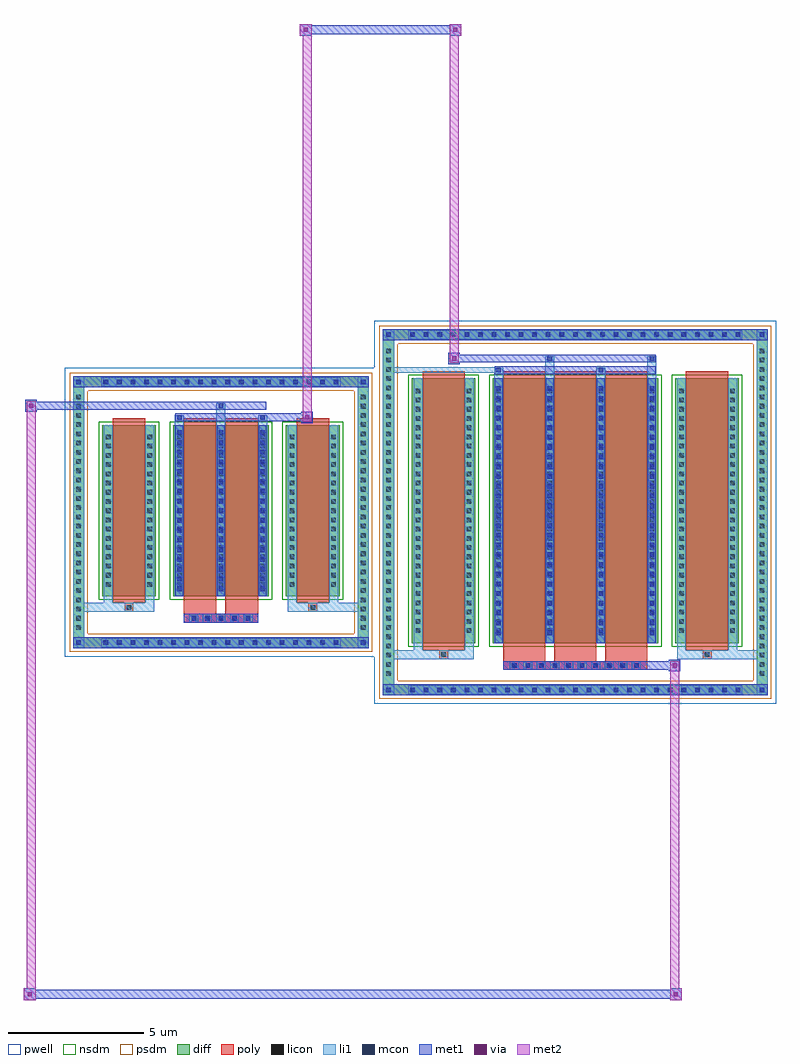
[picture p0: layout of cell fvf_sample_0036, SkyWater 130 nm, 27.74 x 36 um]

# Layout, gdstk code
import gdstk
lib = gdstk.Library(unit=1e-6, precision=1e-09)
def R(c, l, rs):  # rectangles x0, y0, x1, y1
    for r in rs: c.add(gdstk.rectangle(r[:2], r[2:], *l))
def A(c, l, x, y, w, h, nx, ny, dx, dy):  # array of equal rectangles
    R(c, l, [(x+i*dx, y+j*dy, x+i*dx+w, y+j*dy+h) for i in range(nx) for j in range(ny)])
def P(c, l, *ps):  # polygons
    for p in ps: c.add(gdstk.Polygon(p, *l))
pwell = (64, 44)
diff = (65, 20)
poly = (66, 20)
licon = (66, 44)
li1 = (67, 20)
mcon = (67, 44)
met1 = (68, 20)
via = (68, 44)
met2 = (69, 20)
nsdm = (93, 44)
psdm = (94, 20)

fvf_sample_0036 = lib.new_cell('fvf_sample_0036')
R(fvf_sample_0036, pwell, [(5.663,-7.066,20.475,7.066), (-5.763,-5.324,5.763,5.324)])
A(fvf_sample_0036, diff, 6.864, -6.756, 0.41, 0.41, 25, 2, 0.5, 13.102)
A(fvf_sample_0036, diff, 5.973, -6.155, 0.41, 0.41, 1, 36, 0, 0.34)
A(fvf_sample_0036, diff, 19.755, -6.155, 0.41, 0.41, 1, 36, 0, 0.34)
A(fvf_sample_0036, diff, -4.455, -5.014, 0.41, 0.41, 18, 2, 0.5, 9.618)
A(fvf_sample_0036, diff, -5.453, -4.455, 0.41, 0.41, 1, 26, 0, 0.34)
A(fvf_sample_0036, diff, 5.043, -4.455, 0.41, 0.41, 1, 26, 0, 0.34)
R(fvf_sample_0036, diff, [(6.864,-6.756,19.274,-6.346), (5.973,-6.155,6.383,6.155), (19.755,-6.155,20.165,6.155), (-4.455,-5.014,4.455,-4.604), (7.044,-4.835,9.378,4.951), (10.018,-4.835,16.12,4.951), (16.76,-4.835,19.094,4.951), (-5.453,-4.455,-5.043,4.455), (5.043,-4.455,5.453,4.455), (-4.383,-3.093,-2.399,3.209), (-1.759,-3.093,1.759,3.209), (2.399,-3.093,4.383,3.209), (-4.455,4.604,4.455,5.014), (6.864,6.346,19.274,6.756)])
P(fvf_sample_0036, diff, [(5.453,5.014),(-5.453,5.014),(-5.453,-4.604),(-5.043,-4.604),(-5.043,4.604),(5.043,4.604),(5.043,-4.604),(-5.043,-4.604),(-5.453,-4.604),(-5.453,-5.014),(5.453,-5.014)],
  [(20.165,6.756),(5.973,6.756),(5.973,-6.346),(6.383,-6.346),(6.383,6.346),(19.755,6.346),(19.755,-6.346),(6.383,-6.346),(5.973,-6.346),(5.973,-6.756),(20.165,-6.756)])
A(fvf_sample_0036, poly, 10.654, -5.816, 0.33, 0.33, 10, 1, 0.5, 0)
A(fvf_sample_0036, poly, 10.408, -5.486, 1.554, 0.401, 3, 1, 1.884, 0)
A(fvf_sample_0036, poly, 10.408, -5.085, 1.554, 10.286, 3, 1, 1.884, 0)
A(fvf_sample_0036, poly, -1.165, -4.074, 0.33, 0.33, 5, 1, 0.5, 0)
R(fvf_sample_0036, poly, [(10.408,-5.816,15.73,-5.486), (8.046,-5.415,8.376,-5.085), (8.046,-5.415,8.376,-5.085), (17.762,-5.415,18.092,-5.085), (17.762,-5.415,18.092,-5.085), (7.434,-5.085,8.988,5.201), (17.15,-5.085,18.704,5.201), (-1.369,-4.074,1.369,-3.744), (-1.369,-3.744,-0.165,-3.343), (0.165,-3.744,1.369,-3.343), (-3.556,-3.673,-3.226,-3.343), (-3.556,-3.673,-3.226,-3.343), (3.226,-3.673,3.556,-3.343), (3.226,-3.673,3.556,-3.343), (-3.993,-3.343,-2.789,3.459), (-1.369,-3.343,-0.165,3.459), (0.165,-3.343,1.369,3.459), (2.789,-3.343,3.993,3.459)])
A(fvf_sample_0036, licon, 6.984, -6.636, 0.17, 0.17, 25, 2, 0.5, 13.102)
A(fvf_sample_0036, licon, 6.093, -6.035, 0.17, 0.17, 1, 36, 0, 0.34)
A(fvf_sample_0036, licon, 19.875, -6.035, 0.17, 0.17, 1, 36, 0, 0.34)
A(fvf_sample_0036, licon, 10.734, -5.736, 0.17, 0.17, 10, 1, 0.5, 0)
A(fvf_sample_0036, licon, -4.335, -4.894, 0.17, 0.17, 18, 2, 0.5, 9.618)
A(fvf_sample_0036, licon, 7.184, -4.447, 0.17, 0.17, 1, 27, 0, 0.34)
A(fvf_sample_0036, licon, 9.068, -4.447, 0.17, 0.17, 1, 27, 0, 0.34)
A(fvf_sample_0036, licon, 10.158, -4.447, 0.17, 0.17, 4, 27, 1.884, 0.34)
A(fvf_sample_0036, licon, 16.9, -4.447, 0.17, 0.17, 1, 27, 0, 0.34)
A(fvf_sample_0036, licon, 18.784, -4.447, 0.17, 0.17, 1, 27, 0, 0.34)
A(fvf_sample_0036, licon, -5.333, -4.335, 0.17, 0.17, 1, 26, 0, 0.34)
A(fvf_sample_0036, licon, 5.163, -4.335, 0.17, 0.17, 1, 26, 0, 0.34)
A(fvf_sample_0036, licon, -1.085, -3.994, 0.17, 0.17, 5, 1, 0.5, 0)
A(fvf_sample_0036, licon, -4.243, -2.747, 0.17, 0.17, 1, 17, 0, 0.34)
A(fvf_sample_0036, licon, -2.709, -2.747, 0.17, 0.17, 1, 17, 0, 0.34)
A(fvf_sample_0036, licon, -1.619, -2.747, 0.17, 0.17, 3, 17, 1.534, 0.34)
A(fvf_sample_0036, licon, 2.539, -2.747, 0.17, 0.17, 1, 17, 0, 0.34)
A(fvf_sample_0036, licon, 4.073, -2.747, 0.17, 0.17, 1, 17, 0, 0.34)
R(fvf_sample_0036, licon, [(8.126,-5.335,8.296,-5.165), (17.842,-5.335,18.012,-5.165), (-3.476,-3.593,-3.306,-3.423), (3.306,-3.593,3.476,-3.423)])
A(fvf_sample_0036, li1, 6.904, -6.716, 0.33, 0.33, 25, 2, 0.5, 13.102)
A(fvf_sample_0036, li1, 6.013, -6.115, 0.33, 0.33, 1, 36, 0, 0.34)
A(fvf_sample_0036, li1, 19.795, -6.115, 0.33, 0.33, 1, 36, 0, 0.34)
A(fvf_sample_0036, li1, 10.654, -5.816, 0.33, 0.33, 10, 1, 0.5, 0)
A(fvf_sample_0036, li1, -4.415, -4.974, 0.33, 0.33, 18, 2, 0.5, 9.618)
A(fvf_sample_0036, li1, 10.078, -4.835, 0.33, 9.786, 4, 1, 1.884, 0)
A(fvf_sample_0036, li1, 7.104, -4.527, 0.33, 0.33, 1, 27, 0, 0.34)
A(fvf_sample_0036, li1, 8.988, -4.527, 0.33, 0.33, 1, 27, 0, 0.34)
A(fvf_sample_0036, li1, 10.078, -4.527, 0.33, 0.33, 4, 27, 1.884, 0.34)
A(fvf_sample_0036, li1, 10.158, -4.527, 0.17, 0.17, 4, 26, 1.884, 0.36)
A(fvf_sample_0036, li1, 10.158, -4.527, 0.17, 9.17, 4, 1, 1.884, 0)
A(fvf_sample_0036, li1, 16.82, -4.527, 0.33, 0.33, 1, 27, 0, 0.34)
A(fvf_sample_0036, li1, 18.704, -4.527, 0.33, 0.33, 1, 27, 0, 0.34)
A(fvf_sample_0036, li1, -5.413, -4.415, 0.33, 0.33, 1, 26, 0, 0.34)
A(fvf_sample_0036, li1, 5.083, -4.415, 0.33, 0.33, 1, 26, 0, 0.34)
A(fvf_sample_0036, li1, -1.165, -4.074, 0.33, 0.33, 5, 1, 0.5, 0)
A(fvf_sample_0036, li1, -1.699, -3.093, 0.33, 6.302, 3, 1, 1.534, 0)
A(fvf_sample_0036, li1, -1.619, -2.907, 0.17, 0.17, 3, 17, 1.534, 0.36)
A(fvf_sample_0036, li1, -1.619, -2.907, 0.17, 5.93, 3, 1, 1.534, 0)
A(fvf_sample_0036, li1, -4.323, -2.827, 0.33, 0.33, 1, 17, 0, 0.34)
A(fvf_sample_0036, li1, -2.789, -2.827, 0.33, 0.33, 1, 17, 0, 0.34)
A(fvf_sample_0036, li1, -1.699, -2.827, 0.33, 0.33, 3, 17, 1.534, 0.34)
A(fvf_sample_0036, li1, 2.459, -2.827, 0.33, 0.33, 1, 17, 0, 0.34)
A(fvf_sample_0036, li1, 3.993, -2.827, 0.33, 0.33, 1, 17, 0, 0.34)
R(fvf_sample_0036, li1, [(5.973,-6.756,6.383,-6.346), (19.755,-6.756,20.165,-6.346), (6.904,-6.716,19.234,-6.386), (6.093,-6.636,6.263,-6.466), (6.093,-6.636,6.263,-6.466), (19.875,-6.636,20.045,-6.466), (19.875,-6.636,20.045,-6.466), (5.973,-6.346,6.383,6.346), (19.755,-6.346,20.165,6.346), (5.973,-5.415,8.046,-5.085), (7.104,-5.415,7.434,-4.835), (7.104,-5.415,8.046,-5.085), (8.046,-5.415,8.376,-5.085), (8.376,-5.415,9.318,-5.085), (8.988,-5.415,9.318,-4.835), (16.82,-5.415,17.15,-4.835), (16.82,-5.415,17.762,-5.085), (17.762,-5.415,18.092,-5.085), (17.762,-5.415,20.165,-5.085), (18.092,-5.415,19.034,-5.085), (18.704,-5.415,19.034,-4.835), (-5.453,-5.014,-5.043,-4.604), (5.043,-5.014,5.453,-4.604), (-4.415,-4.974,4.415,-4.644), (-5.333,-4.894,-5.163,-4.724), (-5.333,-4.894,-5.163,-4.724), (5.163,-4.894,5.333,-4.724), (5.163,-4.894,5.333,-4.724), (7.104,-4.835,7.434,4.951), (8.988,-4.835,9.318,4.951), (16.82,-4.835,17.15,4.951), (18.704,-4.835,19.034,4.951), (-5.453,-4.604,-5.043,4.604), (5.043,-4.604,5.453,4.604), (-5.453,-3.673,-3.556,-3.343), (-4.323,-3.673,-3.556,-3.343), (-4.323,-3.673,-3.993,-3.093), (-3.556,-3.673,-3.226,-3.343), (-3.226,-3.673,-2.459,-3.343), (-2.789,-3.673,-2.459,-3.093), (2.459,-3.673,3.226,-3.343), (2.459,-3.673,2.789,-3.093), (3.226,-3.673,3.556,-3.343), (3.226,-3.673,5.453,-3.343), (3.556,-3.673,4.323,-3.343), (3.993,-3.673,4.323,-3.093), (-4.323,-3.093,-3.993,3.209), (-2.789,-3.093,-2.459,3.209), (2.459,-3.093,2.789,3.209), (3.993,-3.093,4.323,3.209), (-1.699,3.209,-1.369,3.584), (-0.165,3.209,0.165,4.014), (1.369,3.209,1.699,3.584), (-1.619,3.414,-1.449,3.584), (1.449,3.414,1.619,3.584), (-0.085,3.844,0.085,4.014), (-5.453,4.604,-5.043,5.014), (5.043,4.604,5.453,5.014), (-4.415,4.644,4.415,4.974), (-5.333,4.724,-5.163,4.894), (-5.333,4.724,-5.163,4.894), (5.163,4.724,5.333,4.894), (5.163,4.724,5.333,4.894), (10.078,4.951,10.408,5.326), (11.962,4.951,12.292,5.756), (13.846,4.951,14.176,5.326), (15.73,4.951,16.06,5.756), (10.098,5.096,10.388,5.386), (5.973,5.141,10.098,5.341), (10.158,5.156,10.328,5.326), (10.158,5.156,10.328,5.326), (13.926,5.156,14.096,5.326), (12.042,5.586,12.212,5.756), (15.81,5.586,15.98,5.756), (5.973,6.346,6.383,6.756), (19.755,6.346,20.165,6.756), (6.904,6.386,19.234,6.716), (6.093,6.466,6.263,6.636), (6.093,6.466,6.263,6.636), (19.875,6.466,20.045,6.636), (19.875,6.466,20.045,6.636)])
A(fvf_sample_0036, mcon, 6.984, -6.636, 0.17, 0.17, 25, 2, 0.5, 13.102)
A(fvf_sample_0036, mcon, 10.734, -5.736, 0.17, 0.17, 10, 1, 0.5, 0)
A(fvf_sample_0036, mcon, -4.335, -4.894, 0.17, 0.17, 18, 2, 0.5, 9.618)
A(fvf_sample_0036, mcon, 10.158, -4.527, 0.17, 0.17, 4, 26, 1.884, 0.36)
A(fvf_sample_0036, mcon, -1.085, -3.994, 0.17, 0.17, 5, 1, 0.5, 0)
A(fvf_sample_0036, mcon, -1.619, -2.907, 0.17, 0.17, 3, 17, 1.534, 0.36)
R(fvf_sample_0036, mcon, [(6.093,-6.636,6.263,-6.466), (19.875,-6.636,20.045,-6.466), (-5.333,-4.894,-5.163,-4.724), (5.163,-4.894,5.333,-4.724), (-1.619,3.414,-1.449,3.584), (1.449,3.414,1.619,3.584), (-0.085,3.844,0.085,4.014), (-5.333,4.724,-5.163,4.894), (5.163,4.724,5.333,4.894), (10.158,5.156,10.328,5.326), (10.158,5.156,10.328,5.326), (13.926,5.156,14.096,5.326), (12.042,5.586,12.212,5.756), (15.81,5.586,15.98,5.756), (6.093,6.466,6.263,6.636), (19.875,6.466,20.045,6.636)])
A(fvf_sample_0036, met1, 6.924, -6.696, 0.29, 0.29, 25, 2, 0.5, 13.102)
A(fvf_sample_0036, met1, 10.674, -5.796, 0.29, 0.29, 10, 1, 0.5, 0)
A(fvf_sample_0036, met1, -4.395, -4.954, 0.29, 0.29, 18, 2, 0.5, 9.618)
A(fvf_sample_0036, met1, 10.098, -4.835, 0.29, 9.786, 4, 1, 1.884, 0)
A(fvf_sample_0036, met1, 10.098, -4.587, 0.29, 0.29, 4, 26, 1.884, 0.36)
A(fvf_sample_0036, met1, -1.145, -4.054, 0.29, 0.29, 5, 1, 0.5, 0)
A(fvf_sample_0036, met1, -1.679, -3.093, 0.29, 6.302, 3, 1, 1.534, 0)
A(fvf_sample_0036, met1, -1.679, -2.967, 0.29, 0.29, 3, 17, 1.534, 0.36)
R(fvf_sample_0036, met1, [(-7.268,-17.988,-6.838,-17.558), (16.565,-17.988,16.995,-17.558), (-7.268,-17.938,16.995,-17.608), (-7.268,-17.608,-6.838,-17.558), (16.565,-17.608,16.995,-17.558), (5.973,-6.756,6.383,-6.346), (5.973,-6.756,6.383,-6.346), (6.383,-6.756,19.755,-6.346), (19.755,-6.756,20.165,-6.346), (19.755,-6.756,20.165,-6.346), (6.033,-6.696,6.323,-6.406), (19.815,-6.696,20.105,-6.406), (16.515,-5.866,16.945,-5.436), (10.408,-5.816,15.73,-5.486), (15.73,-5.816,16.515,-5.486), (-5.453,-5.014,-5.043,-4.604), (-5.453,-5.014,-5.043,-4.604), (-5.043,-5.014,5.043,-4.604), (5.043,-5.014,5.453,-4.604), (5.043,-5.014,5.453,-4.604), (-5.393,-4.954,-5.103,-4.664), (5.103,-4.954,5.393,-4.664), (-1.369,-4.074,1.369,-3.744), (2.964,3.284,3.394,3.714), (-1.679,3.354,-1.389,3.644), (-1.679,3.354,1.679,3.644), (1.389,3.354,1.679,3.644), (1.679,3.354,2.964,3.644), (-7.218,3.714,-6.788,4.144), (-6.788,3.784,-1.679,4.074), (-1.679,3.784,1.679,4.074), (-0.145,3.784,0.145,4.074), (-5.453,4.604,-5.043,5.014), (-5.453,4.604,-5.043,5.014), (-5.043,4.604,5.043,5.014), (5.043,4.604,5.453,5.014), (5.043,4.604,5.453,5.014), (-5.393,4.664,-5.103,4.954), (5.103,4.664,5.393,4.954), (10.098,5.096,10.388,5.386), (10.098,5.096,10.388,5.386), (10.098,5.096,16.04,5.386), (13.866,5.096,14.156,5.386), (8.383,5.456,8.813,5.886), (8.813,5.526,10.098,5.816), (10.098,5.526,16.04,5.816), (11.982,5.526,12.272,5.816), (15.75,5.526,16.04,5.816), (5.973,6.346,6.383,6.756), (5.973,6.346,6.383,6.756), (6.383,6.346,19.755,6.756), (19.755,6.346,20.165,6.756), (19.755,6.346,20.165,6.756), (6.033,6.406,6.323,6.696), (19.815,6.406,20.105,6.696), (2.914,17.578,3.344,18.008), (8.433,17.578,8.863,18.008), (2.914,17.628,8.863,17.958), (2.914,17.958,3.344,18.008), (8.433,17.958,8.863,18.008)])
R(fvf_sample_0036, via, [(-7.128,-17.848,-6.978,-17.698), (16.705,-17.848,16.855,-17.698), (16.655,-5.726,16.805,-5.576), (3.104,3.424,3.254,3.574), (-7.078,3.854,-6.928,4.004), (8.523,5.596,8.673,5.746), (3.054,17.718,3.204,17.868), (8.573,17.718,8.723,17.868)])
R(fvf_sample_0036, met2, [(-7.268,-17.988,-6.838,-17.558), (-7.168,-17.988,-6.838,3.764), (16.565,-17.988,16.995,-17.558), (16.565,-17.988,16.895,-5.816), (-7.218,-17.938,-6.888,-17.608), (16.615,-17.938,16.945,-17.608), (16.565,-5.816,16.895,-5.486), (3.014,3.334,3.344,3.664), (3.014,3.664,3.344,18.008), (-7.168,3.764,-6.838,4.094), (8.433,5.506,8.763,5.836), (8.433,5.836,8.763,18.008), (2.914,17.578,3.344,18.008), (8.433,17.578,8.863,18.008), (2.964,17.628,3.294,17.958), (8.483,17.628,8.813,17.958)])
R(fvf_sample_0036, nsdm, [(6.914,-4.965,9.508,5.081), (9.888,-4.965,16.25,5.081), (16.63,-4.965,19.224,5.081), (-4.513,-3.223,-2.269,3.339), (-1.889,-3.223,1.889,3.339), (2.269,-3.223,4.513,3.339)])
P(fvf_sample_0036, psdm, [(5.583,5.144),(-5.583,5.144),(-5.583,-4.474),(-4.913,-4.474),(-4.913,4.474),(4.913,4.474),(4.913,-4.474),(-4.913,-4.474),(-5.583,-4.474),(-5.583,-5.144),(5.583,-5.144)],
  [(20.295,6.886),(5.843,6.886),(5.843,-6.216),(6.513,-6.216),(6.513,6.216),(19.625,6.216),(19.625,-6.216),(6.513,-6.216),(5.843,-6.216),(5.843,-6.886),(20.295,-6.886)])

lib.write_gds('fvf_sample_0036.gds')
